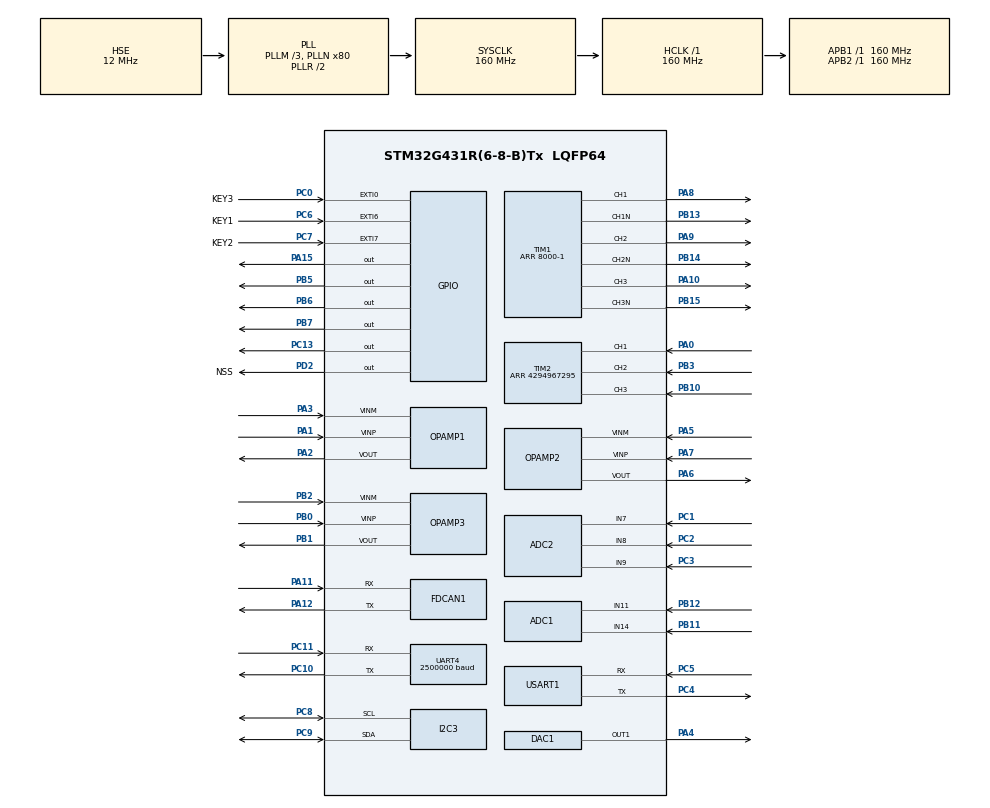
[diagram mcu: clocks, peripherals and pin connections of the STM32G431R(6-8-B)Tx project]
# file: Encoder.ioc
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ADC1.Channel-0\#ChannelRegularConversion=ADC_CHANNEL_11
ADC1.ClockPrescaler=ADC_CLOCK_ASYNC_DIV4
ADC1.EnableInjectedConversion=ENABLE
ADC1.ExternalTrigInjecConv=ADC_EXTERNALTRIGINJEC_T1_CC4
ADC1.InjNumberOfConversion=2
ADC1.InjectedChannel-1\#ChannelInjectedConversion=ADC_CHANNEL_3
ADC1.InjectedChannel-2\#ChannelInjectedConversion=ADC_CHANNEL_12
ADC1.InjectedOffsetNumber-1\#ChannelInjectedConversion=ADC_OFFSET_NONE
ADC1.InjectedOffsetNumber-2\#ChannelInjectedConversion=ADC_OFFSET_NONE
ADC1.InjectedRank-1\#ChannelInjectedConversion=1
ADC1.InjectedRank-2\#ChannelInjectedConversion=2
ADC1.InjectedSamplingTime-1\#ChannelInjectedConversion=ADC_SAMPLETIME_6CYCLES_5
ADC1.InjectedSamplingTime-2\#ChannelInjectedConversion=ADC_SAMPLETIME_6CYCLES_5
ADC1.NbrOfConversionFlag=1
ADC1.OffsetNumber-0\#ChannelRegularConversion=ADC_OFFSET_NONE
ADC1.Rank-0\#ChannelRegularConversion=1
ADC1.Rank1_Channel=ADC_CHANNEL_3
ADC1.Rank2_Channel=ADC_CHANNEL_12
ADC1.SamplingTime-0\#ChannelRegularConversion=ADC_SAMPLETIME_2CYCLES_5
ADC1.master=1
ADC2.Channel-0\#ChannelRegularConversion=ADC_CHANNEL_8
ADC2.ClockPrescaler=ADC_CLOCK_ASYNC_DIV4
ADC2.EnableInjectedConversion=ENABLE
ADC2.ExternalTrigInjecConv=ADC_EXTERNALTRIGINJEC_T1_CC4
ADC2.InjNumberOfConversion=1
ADC2.InjectedChannel-1\#ChannelInjectedConversion=ADC_CHANNEL_3
ADC2.InjectedOffsetNumber-1\#ChannelInjectedConversion=ADC_OFFSET_NONE
ADC2.InjectedRank-1\#ChannelInjectedConversion=1
ADC2.InjectedSamplingTime-1\#ChannelInjectedConversion=ADC_SAMPLETIME_6CYCLES_5
ADC2.NbrOfConversionFlag=1
ADC2.OffsetNumber-0\#ChannelRegularConversion=ADC_OFFSET_NONE
ADC2.Rank-0\#ChannelRegularConversion=1
ADC2.Rank1_Channel=ADC_CHANNEL_3
ADC2.SamplingTime-0\#ChannelRegularConversion=ADC_SAMPLETIME_2CYCLES_5
ADC2.SingleDiff-0\#ChannelRegularConversion=ADC_DIFFERENTIAL_ENDED
DAC1.DAC_Channel-DAC_OUT2=DAC_CHANNEL_2
Dma.I2C3_RX.0.Direction=DMA_PERIPH_TO_MEMORY
Dma.I2C3_RX.0.EventEnable=DISABLE
Dma.I2C3_RX.0.Instance=DMA1_Channel1
Dma.I2C3_RX.0.MemDataAlignment=DMA_MDATAALIGN_BYTE
Dma.I2C3_RX.0.MemInc=DMA_MINC_ENABLE
Dma.I2C3_RX.0.Mode=DMA_NORMAL
Dma.I2C3_RX.0.PeriphDataAlignment=DMA_PDATAALIGN_BYTE
Dma.I2C3_RX.0.PeriphInc=DMA_PINC_DISABLE
Dma.I2C3_RX.0.Polarity=HAL_DMAMUX_REQ_GEN_RISING
Dma.I2C3_RX.0.Priority=DMA_PRIORITY_LOW
Dma.I2C3_RX.0.RequestNumber=1
Dma.I2C3_RX.0.SignalID=NONE
Dma.I2C3_RX.0.SyncEnable=DISABLE
Dma.I2C3_RX.0.SyncPolarity=HAL_DMAMUX_SYNC_NO_EVENT
Dma.I2C3_RX.0.SyncRequestNumber=1
Dma.I2C3_RX.0.SyncSignalID=NONE
Dma.I2C3_TX.1.Direction=DMA_MEMORY_TO_PERIPH
Dma.I2C3_TX.1.EventEnable=DISABLE
Dma.I2C3_TX.1.Instance=DMA1_Channel2
Dma.I2C3_TX.1.MemDataAlignment=DMA_MDATAALIGN_BYTE
Dma.I2C3_TX.1.MemInc=DMA_MINC_ENABLE
Dma.I2C3_TX.1.Mode=DMA_NORMAL
Dma.I2C3_TX.1.PeriphDataAlignment=DMA_PDATAALIGN_BYTE
Dma.I2C3_TX.1.PeriphInc=DMA_PINC_DISABLE
Dma.I2C3_TX.1.Polarity=HAL_DMAMUX_REQ_GEN_RISING
Dma.I2C3_TX.1.Priority=DMA_PRIORITY_LOW
Dma.I2C3_TX.1.RequestNumber=1
Dma.I2C3_TX.1.SignalID=NONE
Dma.I2C3_TX.1.SyncEnable=DISABLE
Dma.I2C3_TX.1.SyncPolarity=HAL_DMAMUX_SYNC_NO_EVENT
Dma.I2C3_TX.1.SyncRequestNumber=1
Dma.I2C3_TX.1.SyncSignalID=NONE
Dma.Request0=I2C3_RX
Dma.Request1=I2C3_TX
Dma.Request2=USART1_RX
Dma.Request3=USART1_TX
Dma.Request4=UART4_RX
Dma.Request5=UART4_TX
Dma.UART4_RX.4.Direction=DMA_PERIPH_TO_MEMORY
Dma.UART4_RX.4.EventEnable=DISABLE
Dma.UART4_RX.4.Instance=DMA1_Channel3
Dma.UART4_RX.4.MemDataAlignment=DMA_MDATAALIGN_BYTE
Dma.UART4_RX.4.MemInc=DMA_MINC_ENABLE
Dma.UART4_RX.4.Mode=DMA_NORMAL
Dma.UART4_RX.4.PeriphDataAlignment=DMA_PDATAALIGN_BYTE
Dma.UART4_RX.4.PeriphInc=DMA_PINC_DISABLE
Dma.UART4_RX.4.Polarity=HAL_DMAMUX_REQ_GEN_RISING
Dma.UART4_RX.4.Priority=DMA_PRIORITY_MEDIUM
Dma.UART4_RX.4.RequestNumber=1
Dma.UART4_RX.4.SignalID=NONE
Dma.UART4_RX.4.SyncEnable=DISABLE
Dma.UART4_RX.4.SyncPolarity=HAL_DMAMUX_SYNC_NO_EVENT
Dma.UART4_RX.4.SyncRequestNumber=1
Dma.UART4_RX.4.SyncSignalID=NONE
Dma.UART4_TX.5.Direction=DMA_MEMORY_TO_PERIPH
Dma.UART4_TX.5.EventEnable=DISABLE
Dma.UART4_TX.5.Instance=DMA1_Channel4
Dma.UART4_TX.5.MemDataAlignment=DMA_MDATAALIGN_BYTE
Dma.UART4_TX.5.MemInc=DMA_MINC_ENABLE
Dma.UART4_TX.5.Mode=DMA_NORMAL
Dma.UART4_TX.5.PeriphDataAlignment=DMA_PDATAALIGN_BYTE
Dma.UART4_TX.5.PeriphInc=DMA_PINC_DISABLE
Dma.UART4_TX.5.Polarity=HAL_DMAMUX_REQ_GEN_RISING
Dma.UART4_TX.5.Priority=DMA_PRIORITY_MEDIUM
Dma.UART4_TX.5.RequestNumber=1
Dma.UART4_TX.5.SignalID=NONE
Dma.UART4_TX.5.SyncEnable=DISABLE
Dma.UART4_TX.5.SyncPolarity=HAL_DMAMUX_SYNC_NO_EVENT
Dma.UART4_TX.5.SyncRequestNumber=1
Dma.UART4_TX.5.SyncSignalID=NONE
Dma.USART1_RX.2.Direction=DMA_PERIPH_TO_MEMORY
Dma.USART1_RX.2.EventEnable=DISABLE
Dma.USART1_RX.2.Instance=DMA1_Channel5
Dma.USART1_RX.2.MemDataAlignment=DMA_MDATAALIGN_BYTE
Dma.USART1_RX.2.MemInc=DMA_MINC_ENABLE
Dma.USART1_RX.2.Mode=DMA_NORMAL
Dma.USART1_RX.2.PeriphDataAlignment=DMA_PDATAALIGN_BYTE
Dma.USART1_RX.2.PeriphInc=DMA_PINC_DISABLE
Dma.USART1_RX.2.Polarity=HAL_DMAMUX_REQ_GEN_RISING
Dma.USART1_RX.2.Priority=DMA_PRIORITY_LOW
Dma.USART1_RX.2.RequestNumber=1
Dma.USART1_RX.2.SignalID=NONE
Dma.USART1_RX.2.SyncEnable=DISABLE
Dma.USART1_RX.2.SyncPolarity=HAL_DMAMUX_SYNC_NO_EVENT
Dma.USART1_RX.2.SyncRequestNumber=1
Dma.USART1_RX.2.SyncSignalID=NONE
Dma.USART1_TX.3.Direction=DMA_MEMORY_TO_PERIPH
Dma.USART1_TX.3.EventEnable=DISABLE
Dma.USART1_TX.3.Instance=DMA1_Channel6
Dma.USART1_TX.3.MemDataAlignment=DMA_MDATAALIGN_BYTE
Dma.USART1_TX.3.MemInc=DMA_MINC_ENABLE
Dma.USART1_TX.3.Mode=DMA_NORMAL
Dma.USART1_TX.3.PeriphDataAlignment=DMA_PDATAALIGN_BYTE
Dma.USART1_TX.3.PeriphInc=DMA_PINC_DISABLE
Dma.USART1_TX.3.Polarity=HAL_DMAMUX_REQ_GEN_RISING
Dma.USART1_TX.3.Priority=DMA_PRIORITY_LOW
Dma.USART1_TX.3.RequestNumber=1
Dma.USART1_TX.3.SignalID=NONE
Dma.USART1_TX.3.SyncEnable=DISABLE
Dma.USART1_TX.3.SyncPolarity=HAL_DMAMUX_SYNC_NO_EVENT
Dma.USART1_TX.3.SyncRequestNumber=1
Dma.USART1_TX.3.SyncSignalID=NONE
FDCAN1.CalculateBaudRateNominal=2000000
FDCAN1.CalculateTimeBitNominal=500
FDCAN1.CalculateTimeQuantumNominal=100.0
I2C3.Timing=0x30909DEC
Mcu.Family=STM32G4
Mcu.Name=STM32G431R(6-8-B)Tx
Mcu.Package=LQFP64
NVIC.ADC1_2_IRQn=true\:0\:0\:false\:false\:true\:true\:true\:true
NVIC.DMA1_Channel1_IRQn=true\:0\:0\:false\:false\:true\:false\:true\:true
NVIC.DMA1_Channel2_IRQn=true\:0\:0\:false\:false\:true\:false\:true\:true
NVIC.DMA1_Channel3_IRQn=true\:0\:0\:false\:false\:true\:false\:true\:true
NVIC.DMA1_Channel4_IRQn=true\:0\:0\:false\:false\:true\:false\:true\:true
NVIC.DMA1_Channel5_IRQn=true\:0\:0\:false\:false\:true\:false\:true\:true
NVIC.DMA1_Channel6_IRQn=true\:0\:0\:false\:false\:true\:false\:true\:true
NVIC.EXTI0_IRQn=true\:0\:0\:false\:false\:true\:true\:true\:true
NVIC.EXTI9_5_IRQn=true\:0\:0\:false\:false\:true\:true\:true\:true
NVIC.I2C3_EV_IRQn=true\:0\:0\:false\:false\:true\:true\:true\:true
NVIC.PriorityGroup=NVIC_PRIORITYGROUP_4
NVIC.TIM2_IRQn=true\:0\:0\:false\:false\:true\:true\:true\:true
NVIC.UART4_IRQn=true\:0\:0\:false\:false\:true\:true\:true\:true
NVIC.USART1_IRQn=true\:0\:0\:false\:false\:true\:true\:true\:true
PA0.Signal=S_TIM2_CH1
PA1.Mode=Standalone
PA1.Signal=OPAMP1_VINP
PA10.Signal=S_TIM1_CH3
PA11.Mode=FDCAN_Activate
PA11.Signal=FDCAN1_RX
PA12.Mode=FDCAN_Activate
PA12.Signal=FDCAN1_TX
PA13.Mode=Serial_Wire
PA13.Signal=SYS_JTMS-SWDIO
PA14.Mode=Serial_Wire
PA14.Signal=SYS_JTCK-SWCLK
PA15.GPIO_PuPd=GPIO_PULLUP
PA15.GPIO_Speed=GPIO_SPEED_FREQ_HIGH
PA15.PinState=GPIO_PIN_SET
PA15.Signal=GPIO_Output
PA2.Signal=SharedAnalog_PA2
PA3.Mode=Standalone
PA3.Signal=OPAMP1_VINM
PA4.Signal=COMP_DAC11_group
PA5.Mode=Standalone
PA5.Signal=OPAMP2_VINM
PA6.Signal=SharedAnalog_PA6
PA7.Mode=Standalone
PA7.Signal=OPAMP2_VINP
PA8.Signal=S_TIM1_CH1
PA9.Signal=S_TIM1_CH2
PB0.Mode=Standalone
PB0.Signal=OPAMP3_VINP
PB1.Signal=SharedAnalog_PB1
PB10.Signal=S_TIM2_CH3
PB11.Mode=IN14-Single-Ended
PB11.Signal=ADC1_IN14
PB12.Mode=IN11-Single-Ended
PB12.Signal=ADC1_IN11
PB13.Mode=PWM Generation1 CH1 CH1N
PB13.Signal=TIM1_CH1N
PB14.Mode=PWM Generation2 CH2 CH2N
PB14.Signal=TIM1_CH2N
PB15.Mode=PWM Generation3 CH3 CH3N
PB15.Signal=TIM1_CH3N
PB2.Mode=Standalone
PB2.Signal=OPAMP3_VINM
PB3.Signal=S_TIM2_CH2
PB5.Signal=GPIO_Output
PB6.Signal=GPIO_Output
PB7.GPIO_PuPd=GPIO_PULLUP
PB7.GPIO_Speed=GPIO_SPEED_FREQ_HIGH
PB7.PinState=GPIO_PIN_SET
PB7.Signal=GPIO_Output
PC0.GPIO_Label=KEY3
PC0.Signal=GPXTI0
PC1.Mode=IN7-Single-Ended
PC1.Signal=ADC2_IN7
PC10.GPIO_Speed=GPIO_SPEED_FREQ_VERY_HIGH
PC10.Mode=Asynchronous
PC10.Signal=UART4_TX
PC11.GPIO_Speed=GPIO_SPEED_FREQ_VERY_HIGH
PC11.Mode=Asynchronous
PC11.Signal=UART4_RX
PC13.Signal=GPIO_Output
PC2.Mode=IN8-Differential
PC2.Signal=ADC2_IN8
PC3.Mode=IN8-Differential
PC3.Signal=ADC2_IN9
PC4.Mode=Asynchronous
PC4.Signal=USART1_TX
PC5.Mode=Asynchronous
PC5.Signal=USART1_RX
PC6.GPIO_Label=KEY1
PC6.Signal=GPXTI6
PC7.GPIO_Label=KEY2
PC7.Signal=GPXTI7
PC8.Mode=I2C
PC8.Signal=I2C3_SCL
PC9.Mode=I2C
PC9.Signal=I2C3_SDA
PD2.GPIO_Label=NSS
PD2.Signal=GPIO_Output
PF0-OSC_IN.Mode=HSE-External-Oscillator
PF0-OSC_IN.Signal=RCC_OSC_IN
PF1-OSC_OUT.Mode=HSE-External-Oscillator
PF1-OSC_OUT.Signal=RCC_OSC_OUT
ProjectManager.HeapSize=0x200
ProjectManager.StackSize=0x400
ProjectManager.TargetToolchain=MDK-ARM V5.32
RCC.ADC12CLockSelection=RCC_ADC12CLKSOURCE_PLL
RCC.ADC12Freq_Value=160000000
RCC.AHBFreq_Value=160000000
RCC.APB1Freq_Value=160000000
RCC.APB1TimFreq_Value=160000000
RCC.APB2Freq_Value=160000000
RCC.APB2TimFreq_Value=160000000
RCC.CortexFreq_Value=160000000
RCC.EXTERNAL_CLOCK_VALUE=12288000
RCC.HCLKFreq_Value=160000000
RCC.HSE_VALUE=12000000
RCC.HSI48_VALUE=48000000
RCC.HSI_VALUE=16000000
RCC.LSE_VALUE=32768
RCC.PLLM=RCC_PLLM_DIV3
RCC.PLLN=80
RCC.PLLSourceVirtual=RCC_PLLSOURCE_HSE
RCC.SYSCLKFreq_VALUE=160000000
RCC.SYSCLKSource=RCC_SYSCLKSOURCE_PLLCLK
RCC.USBFreq_Value=160000000
RCC.VCOOutputFreq_Value=320000000
SH.COMP_DAC11_group.0=DAC1_OUT1,DAC_OUT1
SH.S_TIM1_CH1.0=TIM1_CH1,PWM Generation1 CH1 CH1N
SH.S_TIM1_CH2.0=TIM1_CH2,PWM Generation2 CH2 CH2N
SH.S_TIM1_CH3.0=TIM1_CH3,PWM Generation3 CH3 CH3N
SH.S_TIM2_CH1.0=TIM2_CH1,Xored_Inputs_Hall_Sensor_Interface
SH.S_TIM2_CH2.0=TIM2_CH2,Xored_Inputs_Hall_Sensor_Interface
SH.S_TIM2_CH3.0=TIM2_CH3,Xored_Inputs_Hall_Sensor_Interface
SH.SharedAnalog_PA2.0=OPAMP1_VOUT,Standalone
SH.SharedAnalog_PA2.1=ADC1_IN3,IN3-Single-Ended
SH.SharedAnalog_PA6.0=OPAMP2_VOUT,Standalone
SH.SharedAnalog_PA6.1=ADC2_IN3,IN3-Single-Ended
SH.SharedAnalog_PB1.0=OPAMP3_VOUT,Standalone
SH.SharedAnalog_PB1.1=COMP1_INP,INP
SH.SharedAnalog_PB1.2=ADC1_IN12,IN12-Single-Ended
STMicroelectronics.X-CUBE-ALGOBUILD.1.3.0.LibraryCcDSPOoLibraryJjDSPOoLibrary=true
TIM1.BreakFilter=2
TIM1.BreakState=TIM_BREAK_ENABLE
TIM1.Channel-PWM\ Generation1\ CH1\ CH1N=TIM_CHANNEL_1
TIM1.Channel-PWM\ Generation2\ CH2\ CH2N=TIM_CHANNEL_2
TIM1.Channel-PWM\ Generation3\ CH3\ CH3N=TIM_CHANNEL_3
TIM1.Channel-PWM\ Generation4\ No\ Output=TIM_CHANNEL_4
TIM1.ClockDivision=TIM_CLOCKDIVISION_DIV2
TIM1.CounterMode=TIM_COUNTERMODE_CENTERALIGNED1
TIM1.DeadTime=150
TIM1.OCMode_PWM-PWM\ Generation4\ No\ Output=TIM_OCMODE_PWM2
TIM1.PeriodNoDither=8000-1
TIM1.PulseNoDither_4=8000-2
TIM1.RepetitionCounter=1
TIM1.SourceBRKCOMP1=TIM_BREAKINPUTSOURCE_ENABLE
TIM1.TIM_MasterOutputTrigger=TIM_TRGO_OC4REF
TIM2.Commutation_Delay=10
TIM2.IC1Filter=10
TIM2.PeriodNoDither=4294967295
UART4.BaudRate=2500000
UART4.FIFOMode=FIFOMODE_DISABLE
USART1.VirtualMode-Asynchronous=VM_ASYNC
VP_COMP1_VS_DAC3OUT1.Mode=INM_DAC3OUT1
VP_DAC3_VS_DACI1.Mode=DAC_OUT1_Int
VP_STMicroelectronics.X-CUBE-ALGOBUILD_VS_DSPOoLibraryJjLibrary_1.3.0_1.3.0.Mode=DSPOoLibraryJjLibrary
VP_SYS_VS_DBSignals.Mode=DisableDeadBatterySignals
VP_TIM1_VS_ClockSourceINT.Mode=Internal
VP_TIM1_VS_no_output4.Mode=PWM Generation4 No Output
VP_TIM2_VS_ClockSourceINT.Mode=Internal
board=custom

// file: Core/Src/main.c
/* USER CODE BEGIN Header */
/**
  ******************************************************************************
  * @file           : main.c
  * @brief          : Main program body
  ******************************************************************************
  * @attention
  *
  * <h2><center>&copy; Copyright (c) 2024 STMicroelectronics.
  * All rights reserved.</center></h2>
  *
  * This software component is licensed by ST under BSD 3-Clause license,
  * the "License"; You may not use this file except in compliance with the
  * License. You may obtain a copy of the License at:
  *                        opensource.org/licenses/BSD-3-Clause
  *
  ******************************************************************************
  */
/* USER CODE END Header */
#include "main.h"
#include "adc.h"
#include "comp.h"
#include "dac.h"
#include "dma.h"
#include "fdcan.h"
#include "i2c.h"
#include "opamp.h"
#include "tim.h"
#include "usart.h"
#include "gpio.h"

/* USER CODE BEGIN Includes */
#define PI					3.141592653f

#include <stdio.h>
#include <string.h>
//#include "SMO_FOC.h"
#include "decoder0.h"
#include "Decoder_FOC.h"
#include "foc.h"
#include "mc_Lib.h"
#include "PI_tune.h"

/* USER CODE END Includes */

/* USER CODE BEGIN PTD */
#define     BUFFER_SIZE_UART1     50
uint8_t rxBuffer_uart1[BUFFER_SIZE_UART1];

#define     BUFFER_SIZE_UART4     20
uint8_t rxBuffer_uart4[BUFFER_SIZE_UART4];

/* USER CODE END PTD */

/* USER CODE BEGIN PV */
float temp[12];
static uint8_t tempData[52] = {0,0,0,0,0,0,0,0,0,0,0,0,0,0,0,0,0,0,0,0,0,0,0,0,0,0,0,0,0,0,0,0,0,0,0,0,0,0,0,0,0,0,0,0,0,0,0,0,0,0,0x80,0x7F};
uint8_t MotorState = 0;
uint16_t adc1_in1, adc1_in2, adc1_in3, adc1_in4, adc_vbus;
uint16_t IA_Offset,IB_Offset,IC_Offset;
uint8_t ADC_offset = 0;
uint8_t cmd = 0x1A;
uint32_t absPos = 0;
float	memAngle;
float	genTheta;

float Encoder_eleAngle;
float EncoderRPM;
/* USER CODE END PV */

void SystemClock_Config(void);

int main(void)
{

  /* MCU Configuration--------------------------------------------------------*/

  /* Reset of all peripherals, Initializes the Flash interface and the Systick. */
  HAL_Init();

  /* Configure the system clock */
  SystemClock_Config();

  /* Initialize all configured peripherals */
  MX_GPIO_Init();
  MX_DMA_Init();
  MX_ADC2_Init();
  MX_COMP1_Init();
  MX_DAC1_Init();
  MX_DAC3_Init();
  MX_FDCAN1_Init();
  MX_I2C3_Init();
  MX_OPAMP1_Init();
  MX_OPAMP2_Init();
  MX_OPAMP3_Init();
  MX_TIM1_Init();
  MX_TIM2_Init();
  MX_ADC1_Init();
  MX_USART1_UART_Init();
  MX_UART4_Init();
  /* USER CODE BEGIN 2 */
	HAL_OPAMP_Start(&hopamp1);
	HAL_OPAMP_Start(&hopamp2);
	HAL_OPAMP_Start(&hopamp3);
	HAL_ADCEx_Calibration_Start( &hadc1, ADC_SINGLE_ENDED);
	HAL_ADCEx_Calibration_Start( &hadc2, ADC_SINGLE_ENDED);
	__HAL_ADC_CLEAR_FLAG( &hadc1, ADC_FLAG_JEOC);
	__HAL_ADC_CLEAR_FLAG( &hadc1, ADC_FLAG_EOC);
	__HAL_ADC_CLEAR_FLAG( &hadc2, ADC_FLAG_JEOC);
	HAL_ADCEx_InjectedStart_IT(&hadc1);
	HAL_ADCEx_InjectedStart(&hadc2);
	HAL_TIM_Encoder_Start(&htim2,TIM_CHANNEL_1 | TIM_CHANNEL_2);
	HAL_UARTEx_ReceiveToIdle_DMA(&huart1, rxBuffer_uart1, BUFFER_SIZE_UART1);
	HAL_UARTEx_ReceiveToIdle_DMA(&huart4, rxBuffer_uart4, BUFFER_SIZE_UART4);
	TIM1->ARR = 8000 - 1;
	TIM1->CCR4 = 8000 - 2;
	HAL_TIM_Base_Start( &htim1);
	HAL_TIM_PWM_Start( &htim1, TIM_CHANNEL_4);
	Decoder_FOC_initialize();
	rtU.SpeedRef = 300;
	rtU.Motor_OnOff = 1;
	rtU.v_bus = 24;

//	SVM_handler.PWMtimerCounts = 8000.0F;
//	FOC_handler.Vbus = 24.0F;
//	DQ_handler.d = 1.0F;
//	DQ_handler.q = 0;

  /* USER CODE END 2 */

  /* Infinite loop */
  while (1)
  {

  }
}

void SystemClock_Config(void)
{
  RCC_OscInitTypeDef RCC_OscInitStruct = {0};
  RCC_ClkInitTypeDef RCC_ClkInitStruct = {0};

  /** Configure the main internal regulator output voltage
  */
  HAL_PWREx_ControlVoltageScaling(PWR_REGULATOR_VOLTAGE_SCALE1_BOOST);

  /** Initializes the RCC Oscillators according to the specified parameters
  * in the RCC_OscInitTypeDef structure.
  */
  RCC_OscInitStruct.OscillatorType = RCC_OSCILLATORTYPE_HSE;
  RCC_OscInitStruct.HSEState = RCC_HSE_ON;
  RCC_OscInitStruct.PLL.PLLState = RCC_PLL_ON;
  RCC_OscInitStruct.PLL.PLLSource = RCC_PLLSOURCE_HSE;
  RCC_OscInitStruct.PLL.PLLM = RCC_PLLM_DIV3;
  RCC_OscInitStruct.PLL.PLLN = 80;
  RCC_OscInitStruct.PLL.PLLP = RCC_PLLP_DIV2;
  RCC_OscInitStruct.PLL.PLLQ = RCC_PLLQ_DIV2;
  RCC_OscInitStruct.PLL.PLLR = RCC_PLLR_DIV2;
  if (HAL_RCC_OscConfig(&RCC_OscInitStruct) != HAL_OK)
  {
    Error_Handler();
  }

  /** Initializes the CPU, AHB and APB buses clocks
  */
  RCC_ClkInitStruct.ClockType = RCC_CLOCKTYPE_HCLK|RCC_CLOCKTYPE_SYSCLK
                              |RCC_CLOCKTYPE_PCLK1|RCC_CLOCKTYPE_PCLK2;
  RCC_ClkInitStruct.SYSCLKSource = RCC_SYSCLKSOURCE_PLLCLK;
  RCC_ClkInitStruct.AHBCLKDivider = RCC_SYSCLK_DIV1;
  RCC_ClkInitStruct.APB1CLKDivider = RCC_HCLK_DIV1;
  RCC_ClkInitStruct.APB2CLKDivider = RCC_HCLK_DIV1;

  if (HAL_RCC_ClockConfig(&RCC_ClkInitStruct, FLASH_LATENCY_4) != HAL_OK)
  {
    Error_Handler();
  }
}

/* USER CODE BEGIN 4 */
int fputc(int ch, FILE *f)
{
 while ((USART1->ISR & 0X40) == 0);
 USART1->TDR = (uint8_t)ch;
 return ch;
}

void HAL_ADCEx_InjectedConvCpltCallback(ADC_HandleTypeDef *hadc)
{
	static uint8_t cnt;
  /* Prevent unused argument(s) compilation warning */
  UNUSED(hadc);
	if(hadc == &hadc1)
	{
		if(ADC_offset == 0)
		{
			cnt++;
			adc1_in1 = hadc1.Instance->JDR1;
			adc1_in2 = hadc2.Instance->JDR1;
			adc1_in3 = hadc1.Instance->JDR2;
			IA_Offset += adc1_in1;
			IB_Offset += adc1_in2;
			IC_Offset += adc1_in3;
			if(cnt >= 10)
			{
				ADC_offset = 1;
				IA_Offset = IA_Offset/10;
				IB_Offset = IB_Offset/10;
				IC_Offset = IC_Offset/10;
			}
		}
		else
		{

			adc1_in1 = hadc1.Instance->JDR1;
			adc1_in3 = hadc1.Instance->JDR2;
			adc1_in2 = hadc2.Instance->JDR1;

			rtU.Ia = (adc1_in1 - IA_Offset)*0.012084f;
			rtU.Ib = (adc1_in2 - IB_Offset)*0.012084f;
			rtU.Ic = (adc1_in3 - IC_Offset)*0.012084f;

//			ABC_handler.a = rtU.Ia;
//			ABC_handler.b = rtU.Ib;
//			ABC_handler.c = rtU.Ic;

			Decoder_FOC_step();
//			VFStart(&ABC_handler, &DQ_handler, &alphaBeta_handler, 0, &SC_handler);
//			SVPWM_Calc(&ABC_handler, &FOC_handler, &SVM_handler, regCCR);

//
			TIM1->CCR1 = rtY.tABC[0];
			TIM1->CCR2 = rtY.tABC[1];
			TIM1->CCR3 = rtY.tABC[2];

//			TIM1->CCR1 = regCCR[1];
//			TIM1->CCR2 = regCCR[0];
//			TIM1->CCR3 = regCCR[2];

//			SVPWM_Calc(&ABC_handler, &FOC_handler, &SVM_handler, regCCR);

			rtDWW.decoder_o.Encoder_offset = 47445;
			rtDWW.decoder_o.Cnt_per_Rev = 131072;
			rtDWW.decoder_o.EncoderCnt = absPos;
			rtDWW.decoder_o.EncoderIdx = 0;

			Decoder_Step(&rtDWW.decoder_o.Cnt_per_Rev, &rtDWW.decoder_o.EncoderCnt, &rtDWW.decoder_o.EncoderIdx,
										&EncoderRPM, &Encoder_eleAngle, &rtDWW.decoder_o.Encoder_offset,
										&rtDWW.decoder_o.Decoder_Step_h);
//
			rtU.theta_fbk = Encoder_eleAngle;
			rtU.wn_fbk = EncoderRPM;

//			genTheta = 2.0F * PI * thetaGenerate(10);

			memAngle = absPos / 131072.0F * 2.0F * PI;

			temp[0] = spd_PI.Kp_spd;
			temp[1] = spd_PI.Ki_spd;
			temp[2] = rtU.wn_fbk;
			temp[3] = rtU.SpeedRef;
			temp[4] = absPos;
			temp[5] = cur_PI.Kp_cur;
			temp[6] = cur_PI.Ki_cur;
			temp[7] = iq_fb;
			temp[8] = id_fb;
			temp[9] = rtU.Ia;
			temp[10] = rtU.Ib;
			temp[11] = rtU.Ic;
			memcpy(tempData, temp, sizeof(temp));
			HAL_UART_Transmit_DMA(&huart1,(uint8_t *)tempData,sizeof(tempData));
			HAL_UART_Transmit(&huart4, &cmd, 1, 10);
		}
	}

  /* NOTE : This function should not be modified. When the callback is needed,
            function HAL_ADCEx_InjectedConvCpltCallback must be implemented in the user file.
  */
}
void HAL_GPIO_EXTI_Callback(uint16_t GPIO_Pin)
{
  /* Prevent unused argument(s) compilation warning */
  UNUSED(GPIO_Pin);
	if(GPIO_Pin == KEY1_Pin)
	{
		MotorState = !MotorState;
		if(MotorState == 0)
		{
			HAL_TIM_PWM_Stop(&htim1, TIM_CHANNEL_1);
			HAL_TIM_PWM_Stop(&htim1, TIM_CHANNEL_2);
			HAL_TIM_PWM_Stop(&htim1, TIM_CHANNEL_3);
			HAL_TIMEx_PWMN_Stop(&htim1, TIM_CHANNEL_1);
			HAL_TIMEx_PWMN_Stop(&htim1, TIM_CHANNEL_2);
			HAL_TIMEx_PWMN_Stop(&htim1, TIM_CHANNEL_3);
		}
		else
		{
			HAL_TIM_PWM_Start(&htim1, TIM_CHANNEL_1);
			HAL_TIM_PWM_Start(&htim1, TIM_CHANNEL_2);
			HAL_TIM_PWM_Start(&htim1, TIM_CHANNEL_3);
			HAL_TIMEx_PWMN_Start(&htim1, TIM_CHANNEL_1);
			HAL_TIMEx_PWMN_Start(&htim1, TIM_CHANNEL_2);
			HAL_TIMEx_PWMN_Start(&htim1, TIM_CHANNEL_3);
		}
	}

	else if(GPIO_Pin == KEY2_Pin)
	{
		rtU.SpeedRef -= 100;
		if(rtU.SpeedRef <= -3000)
		{
			rtU.SpeedRef = -3000;
		}
	}

	else if(GPIO_Pin == KEY3_Pin)
	{
		rtU.SpeedRef += 100;
		if(rtU.SpeedRef >= 3000)
		{
			rtU.SpeedRef = 3200;
		}
	}
  /* NOTE: This function should not be modified, when the callback is needed,
           the HAL_GPIO_EXTI_Callback could be implemented in the user file
   */
}

void HAL_TIM_IC_CaptureCallback(TIM_HandleTypeDef *htim)
{
  /* Prevent unused argument(s) compilation warning */
  UNUSED(htim);

  /* NOTE : This function should not be modified, when the callback is needed,
            the HAL_TIM_IC_CaptureCallback could be implemented in the user file
   */
}

void HAL_UARTEx_RxEventCallback(UART_HandleTypeDef * huart, uint16_t Size)
{
    if(huart->Instance == USART1)
    {

//       HAL_UARTEx_ReceiveToIdle_DMA(&huart1, rxBuffer_uart1, BUFFER_SIZE_UART1);
//       HAL_UART_Transmit(&huart1, rxBuffer_uart1, sizeof(rxBuffer_uart1), 10);
//       memset(rxBuffer_uart1, 0, BUFFER_SIZE_UART1);
//
			 HAL_UARTEx_ReceiveToIdle_DMA(&huart1, rxBuffer_uart1, BUFFER_SIZE_UART1);
//     HAL_UART_Transmit(&huart1, rxBuffer_uart1, sizeof(rxBuffer_uart1), 10);
			 HAL_UART_Transmit_DMA(&huart1, rxBuffer_uart1, sizeof(rxBuffer_uart1));
			 PI_tune(&cur_PI, &spd_PI);
    }

		if(huart->Instance == UART4)
    {
       HAL_UARTEx_ReceiveToIdle_DMA(&huart4, rxBuffer_uart4, BUFFER_SIZE_UART4);
			 absPos = (uint32_T)rxBuffer_uart4[3] << 8 | rxBuffer_uart4[2] | (uint32_T)rxBuffer_uart4[4] << 16;
			 if(absPos >= 131072)
			 {
				 absPos = 131072;
			 }
			 if(absPos <= 0)
			 {
				 absPos = 0;
			 }
//       memset(rxBuffer_uart4, 0, BUFFER_SIZE_UART4);
    }
}

/* USER CODE END 4 */

void Error_Handler(void)
{
  __disable_irq();
  while (1)
  {
  }
}
